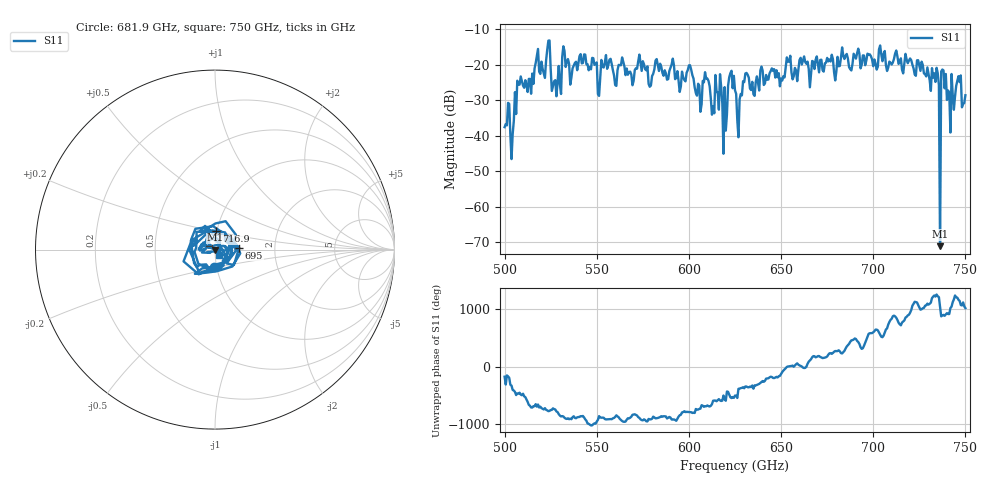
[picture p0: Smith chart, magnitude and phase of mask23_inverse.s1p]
!Created with skrf (http://scikit-rf.org).
# GHz S MA R 50.0
!freq magS11 angS11
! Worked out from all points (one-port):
!   401 points, 500 GHz to 750 GHz, reference 50 ohm
!   lowest |S11| = -71.0 dB at 736.2 GHz (marker M1), VSWR 1.00, Z = 50 - j0.0131 ohm
!   |S11| at or under -10 dB: start of sweep to end of sweep
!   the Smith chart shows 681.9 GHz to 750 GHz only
!   S11 on the Smith chart (normalised r, x): 681.9 GHz: 0.97, -0.19; 695 GHz: 1.31, +0.03; 716.9 GHz: 0.99, +0.21; 750 GHz: 1.04, -0.07
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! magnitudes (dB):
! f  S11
! 500 GHz  -37.5
! 503.8 GHz  -46.5
! 508.1 GHz  -25.6
! 517.5 GHz  -17.4
! 523.8 GHz  -13.2
! 526.9 GHz  -24.6
! 531.2 GHz  -17.7
! 562.5 GHz  -20.1
! 593.8 GHz  -21.8
! 610 GHz  -23.9
! 619.4 GHz  -26.3
! 622.5 GHz  -22.3
! 625 GHz  -27.2
! 627.5 GHz  -29.7
! 656.2 GHz  -24.1
! 681.9 GHz  -20.3
! 687.5 GHz  -21.2
! 695 GHz  -17.4
! 716.9 GHz  -19.8
! 718.8 GHz  -19.5
! 734.4 GHz  -20.8
! 735 GHz  -22.4
! 736.2 GHz  -71.0
! 737.5 GHz  -21.3
! 738.1 GHz  -21.6
! 740.6 GHz  -27.2
! 746.2 GHz  -23.2
! 750 GHz  -28.6
